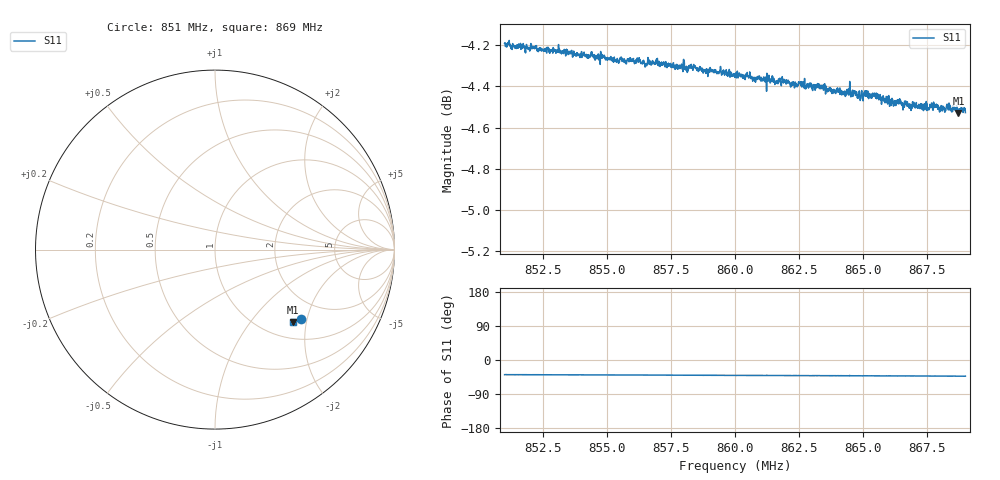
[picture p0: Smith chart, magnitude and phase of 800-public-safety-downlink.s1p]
! Calibrated averaged scanner-service zoom
# Hz S RI R 50
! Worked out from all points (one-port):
!   2001 points, 851 MHz to 869 MHz, reference 50 ohm
!   lowest |S11| = -4.5 dB at 868.73 MHz (marker M1), VSWR 3.92, Z = 67.4 - j83.9 ohm
!   |S11| at or under -10 dB: nowhere
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8.51e8  0.4817 -0.3861
8.5325e8  0.4773 -0.3869
8.53538e8  0.476 -0.3883
8.53952e8  0.4753 -0.387
8.54438e8  0.4738 -0.389
8.555e8  0.4716 -0.3896
8.56877e8  0.4684 -0.3909
8.5775e8  0.4664 -0.3923
8.5838e8  0.4657 -0.3936
8.58821e8  0.4638 -0.3924
8.6e8  0.4596 -0.3943
8.61251e8  0.458 -0.3957
8.61935e8  0.4563 -0.3966
8.6225e8  0.4541 -0.3968
8.62592e8  0.455 -0.3975
8.64248e8  0.4502 -0.3976
8.645e8  0.4498 -0.3985
8.64725e8  0.448 -0.3996
8.64842e8  0.4486 -0.3982
8.65103e8  0.4481 -0.3992
8.6558e8  0.4469 -0.4002
8.65805e8  0.4455 -0.3985
8.6639e8  0.4436 -0.3996
8.66552e8  0.4424 -0.3986
8.6675e8  0.4421 -0.3996
8.67839e8  0.44 -0.4017
8.6873e8  0.4361 -0.4028
8.69e8  0.4365 -0.4025
